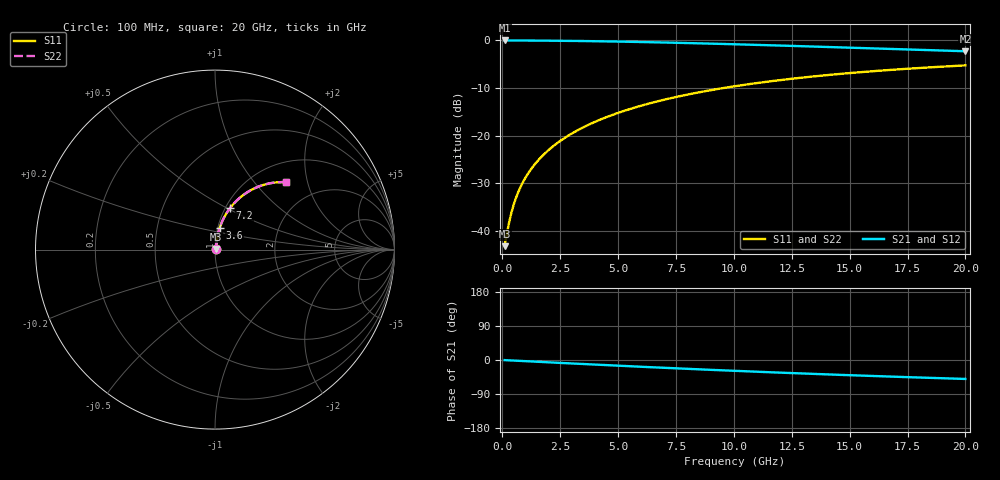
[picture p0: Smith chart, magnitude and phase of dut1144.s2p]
! Touchstone file exported from HFSS 2024.1.0
!  File:  C:/UserFiles/LocalFiles/RDL_TSV_Batchsim/temp_RDL_bottom_1144_1780055776.aedt
!  Generated:  07:58:31 PM May 29, 2026
!  Design:  RDL_bottom
!  Project:  temp_RDL_bottom_1144_1780055776
!  Setup:  Setup1
!  Solution:  Sweep
! Variables:
!  dtsv = 10.80580581um
!  hbump = 3um
!  htsv = 76.42um
!  ldown = 633.63um
!  lrdl = 100um
!  p = 40
!  p1 = 56.38um
!  rhole = 1um
!  t = 450um
!  tdown = 3.01um
!  trdl = 3.915915916um
!  wdown = 12.78um
!  wrdl = 20um
# GHz S MA R 50.000000
! Terminal data exported
! Port[1] = RDL1_T1
! Port[2] = RDL1_T2
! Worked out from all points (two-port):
!   200 points, 100 MHz to 20 GHz, reference 50 ohm
!   highest |S21| = -0.05 dB at 100 MHz (marker M1); lowest = -2.3 dB at 20 GHz (marker M2)
!   |S21| within 3 dB of the highest: start of sweep to end of sweep
!   lowest |S11| = -43.2 dB at 100 MHz (marker M3), VSWR 1.01, Z = 50.6 + j0.367 ohm
!   |S11| at or under -10 dB: start of sweep to 9.586 GHz
!   |S22| runs from -43.2 to -5.3 dB; largest |S21 - S12| = 3e-15
!   S11 on the Smith chart (normalised r, x): 100 MHz: 1.01, +0.01; 3.6 GHz: 1.02, +0.25; 7.2 GHz: 1.05, +0.51; 20 GHz: 1.39, +1.48
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0.1  0.006921 31.7  0.9941 -0.3  0.9941 -0.3  0.006921 31.7
! Gamma 0 0 0 0
! Port Impedance 50 0 50 0
0.3  0.01246 60.3  0.9939 -0.9  0.9939 -0.9  0.01246 60.3
0.4  0.01573 66.1  0.9937 -1.3  0.9937 -1.3  0.01573 66.1
0.5  0.01909 69.7  0.9935 -1.6  0.9935 -1.6  0.01909 69.7
0.6  0.02248 72.1  0.9933 -1.9  0.9933 -1.9  0.02248 72.1
0.8  0.0293 75.2  0.9928 -2.5  0.9928 -2.5  0.0293 75.2
1.1  0.03958 77.5  0.992 -3.4  0.992 -3.4  0.03958 77.5
1.5  0.05333 78.9  0.9908 -4.6  0.9908 -4.6  0.05333 78.9
1.8  0.06367 79.3  0.9897 -5.5  0.9897 -5.5  0.06367 79.3
2.1  0.07401 79.4  0.9884 -6.4  0.9884 -6.4  0.07402 79.4
2.7  0.09469 79.0  0.9853 -8.2  0.9853 -8.2  0.09469 79.0
3.5  0.1221 77.9  0.9802 -10.6  0.9802 -10.6  0.1221 77.9
3.6  0.1255 77.7  0.9795 -10.9  0.9795 -10.9  0.1256 77.8
4.3  0.1493 76.5  0.974 -13.0  0.974 -13.0  0.1493 76.5
5  0.1728 75.1  0.9678 -15.0  0.9678 -15.0  0.1729 75.1
6.8  0.2316 71.1  0.9487 -20.1  0.9487 -20.1  0.2317 71.1
7.2  0.2443 70.2  0.944 -21.2  0.944 -21.2  0.2444 70.2
8.6  0.2873 67.0  0.9264 -24.9  0.9264 -24.9  0.2874 67.0
10.1  0.3308 63.5  0.9061 -28.8  0.9061 -28.8  0.3309 63.6
13.4  0.4162 56.3  0.8588 -36.6  0.8588 -36.6  0.4164 56.3
16.7  0.487 49.6  0.8112 -43.7  0.8112 -43.7  0.4873 49.6
20  0.5445 43.6  0.766 -50.0  0.766 -50.0  0.5447 43.6
